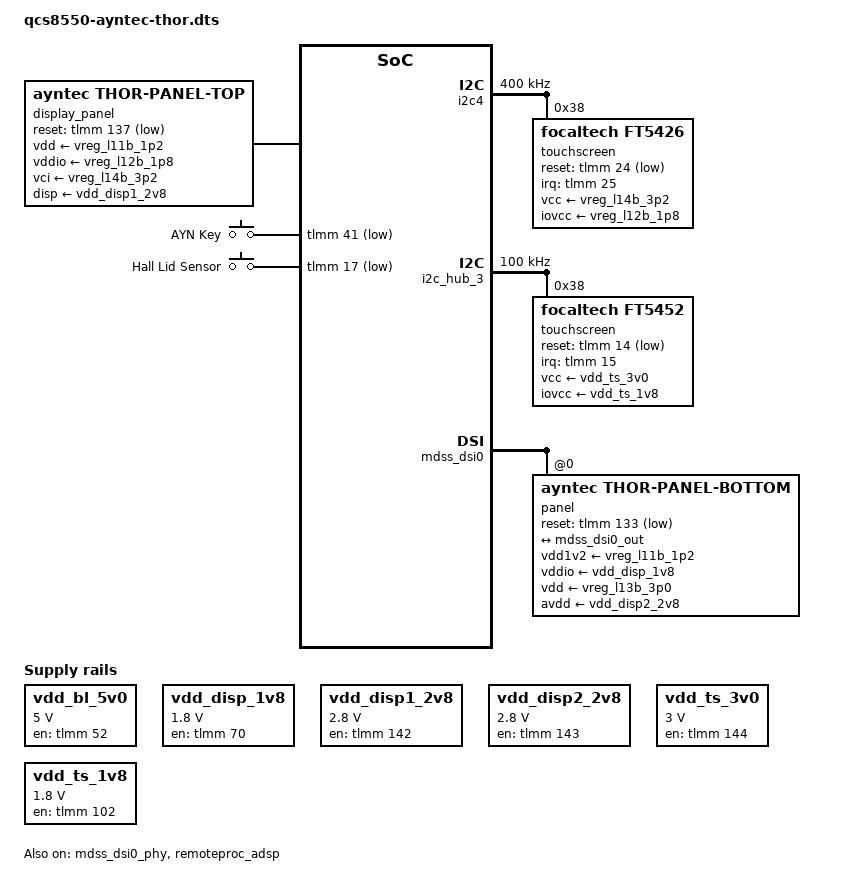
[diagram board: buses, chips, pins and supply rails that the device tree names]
// SPDX-License-Identifier: BSD-3-Clause
/*
 * Copyright (c) 2025, Teguh Sobirin.
 */

/dts-v1/;

#include <dt-bindings/gpio/gpio.h>
#include <dt-bindings/input/input.h>
#include <dt-bindings/interrupt-controller/irq.h>
#include "qcs8550-ayntec-common.dtsi"

&{/} {
	model = "AYN Thor";
	compatible = "ayntec,thor", "qcom,qcs8550", "qcom,sm8550";

	vdd_bl_5v0: vdd-bl-5v0-regulator {
		compatible = "regulator-fixed";
		regulator-name = "vdd_bl_5v0";

		regulator-min-microvolt = <5000000>;
		regulator-max-microvolt = <5000000>;

		gpio = <&tlmm 52 GPIO_ACTIVE_HIGH>;
		enable-active-high;
	};

	vdd_disp_1v8: vdd-disp-1v8-regulator {
		compatible = "regulator-fixed";
		regulator-name = "vdd_disp_1v8";

		regulator-min-microvolt = <1800000>;
		regulator-max-microvolt = <1800000>;

		gpio = <&tlmm 70 GPIO_ACTIVE_HIGH>;
		enable-active-high;
	};

	vdd_disp1_2v8: vdd-disp1-2v8-regulator {
		compatible = "regulator-fixed";
		regulator-name = "vdd_disp1_2v8";

		regulator-min-microvolt = <2800000>;
		regulator-max-microvolt = <2800000>;

		gpio = <&tlmm 142 GPIO_ACTIVE_HIGH>;
		enable-active-high;
	};

	vdd_disp2_2v8: vdd-disp2-2v8-regulator {
		compatible = "regulator-fixed";
		regulator-name = "vdd_disp2_2v8";

		regulator-min-microvolt = <2800000>;
		regulator-max-microvolt = <2800000>;

		gpio = <&tlmm 143 GPIO_ACTIVE_HIGH>;
		enable-active-high;
	};

	vdd_ts_3v0: vdd-ts-3v0-regulator {
		compatible = "regulator-fixed";
		regulator-name = "vdd_ts_3v0";

		regulator-min-microvolt = <3000000>;
		regulator-max-microvolt = <3000000>;

		gpio = <&tlmm 144 GPIO_ACTIVE_HIGH>;
		enable-active-high;
	};

	vdd_ts_1v8: vdd-ts-1v8-regulator {
		compatible = "regulator-fixed";
		regulator-name = "vdd_ts_1v8";

		regulator-min-microvolt = <1800000>;
		regulator-max-microvolt = <1800000>;

		gpio = <&tlmm 102 GPIO_ACTIVE_HIGH>;
		enable-active-high;
	};
};

&display_panel {
	compatible = "ayntec,thor-panel-top", "chipone,icna3520";

	pinctrl-0 = <&dsi_s_rst_active>, <&dsi_s_te_active>;
	pinctrl-1 = <&dsi_s_rst_suspend>, <&dsi_s_te_suspend>;
	pinctrl-names = "default", "sleep";

	vdd-supply = <&vreg_l11b_1p2>;
	vddio-supply = <&vreg_l12b_1p8>;
	vci-supply = <&vreg_l14b_3p2>;
	disp-supply = <&vdd_disp1_2v8>;
	blvdd-supply = <&vdd_bl_5v0>;

	reset-gpios = <&tlmm 137 GPIO_ACTIVE_LOW>;

	rotation = <90>;
};

&gpio_keys {
	pinctrl-0 = <&volume_up_n &key_ayn_n>;

	key-ayn {
		label = "AYN Key";
		debounce-interval = <15>;
		gpios = <&tlmm 41 GPIO_ACTIVE_LOW>;
		linux,code = <KEY_F24>;
		linux,can-disable;
	};

	switch-lid {
		label = "Hall Lid Sensor";
		gpios = <&tlmm 17 GPIO_ACTIVE_LOW>;
		linux,input-type = <EV_SW>;
		linux,code = <SW_LID>;
		linux,can-disable;
		wakeup-source;
	};
};

&i2c4 {
	clock-frequency = <400000>;

	status = "okay";

	touchscreen@38 {
		compatible = "focaltech,ft5426";
		reg = <0x38>;

		interrupt-parent = <&tlmm>;
		interrupts = <25 IRQ_TYPE_EDGE_FALLING>;

		reset-gpios = <&tlmm 24 GPIO_ACTIVE_LOW>;

		vcc-supply = <&vreg_l14b_3p2>;
		iovcc-supply = <&vreg_l12b_1p8>;

		pinctrl-0 = <&ts_p_rst_default &ts_p_int_default>;
		pinctrl-1 = <&ts_p_rst_sleep &ts_p_int_sleep>;
		pinctrl-names = "default", "sleep";

		touchscreen-size-x = <1080>;
		touchscreen-size-y = <1920>;
		touchscreen-swapped-x-y;
		touchscreen-inverted-x;
	};
};

&i2c_hub_3 {
	clock-frequency = <100000>;

	status = "okay";

	touchscreen@38 {
		compatible = "focaltech,ft5452";
		reg = <0x38>;

		interrupt-parent = <&tlmm>;
		interrupts = <15 IRQ_TYPE_EDGE_FALLING>;

		reset-gpios = <&tlmm 14 GPIO_ACTIVE_LOW>;

		vcc-supply = <&vdd_ts_3v0>;
		iovcc-supply = <&vdd_ts_1v8>;

		pinctrl-0 = <&ts_s_rst_default &ts_s_int_default>;
		pinctrl-1 = <&ts_s_rst_sleep &ts_s_int_sleep>;
		pinctrl-names = "default", "sleep";

		touchscreen-size-x = <1080>;
		touchscreen-size-y = <1240>;
		touchscreen-swapped-x-y;
		touchscreen-inverted-x;
	};
};

&mdss_dsi0 {
	vdda-supply = <&vreg_l3e_1p2>;

	status = "okay";

	panel@0 {
		reg = <0>;
		compatible = "ayntec,thor-panel-bottom", "chipwealth,ch13726a";

		pinctrl-0 = <&dsi_p_rst_active>, <&dsi_p_te_active>;
		pinctrl-1 = <&dsi_p_rst_suspend>, <&dsi_p_te_suspend>;
		pinctrl-names = "default", "sleep";

		vdd1v2-supply = <&vreg_l11b_1p2>;
		vddio-supply = <&vdd_disp_1v8>;
		vdd-supply = <&vreg_l13b_3p0>;
		avdd-supply = <&vdd_disp2_2v8>;

		reset-gpios = <&tlmm 133 GPIO_ACTIVE_LOW>;

		rotation = <90>;

		port {
			panel0_in: endpoint {
				remote-endpoint = <&mdss_dsi0_out>;
			};
		};
	};
};

&mdss_dsi0_out {
	remote-endpoint = <&panel0_in>;
	data-lanes = <0 1 2 3>;
};

&mdss_dsi0_phy {
	vdds-supply = <&vreg_l1e_0p88>;

	status = "okay";
};

&mdss_dsi1_out {
	qcom,te-source = "mdp_vsync_s";
};

&pm8550_multi_led {
	status = "disabled";
};

&remoteproc_adsp {
	firmware-name = "qcom/sm8550/ayntec/thor/adsp.mbn",
			"qcom/sm8550/ayntec/thor/adsp_dtb.mbn";

	status = "okay";
};

&spk_amp_l {
	firmware-name = "qcom/sm8550/ayntec/thor/aw883xx_acf.bin";
};

&spk_amp_r {
	firmware-name = "qcom/sm8550/ayntec/thor/aw883xx_acf.bin";
};

&tlmm {
	key_ayn_n: key-ayn-n-state {
		pins = "gpio41";
		function = "gpio";
		bias-pull-up;
		output-disable;
	};
};
